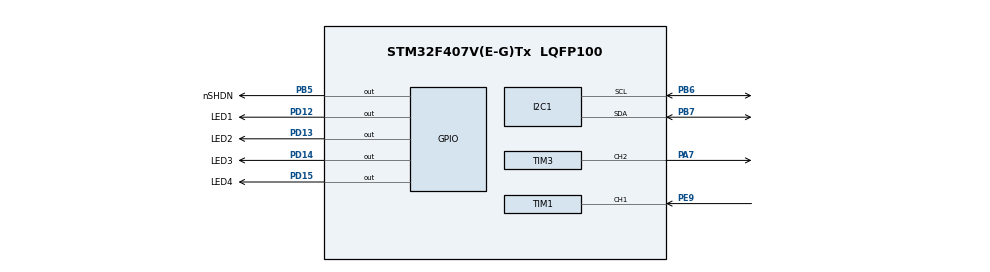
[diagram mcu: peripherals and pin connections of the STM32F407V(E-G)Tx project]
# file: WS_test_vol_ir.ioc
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Dma.Request0=TIM1_CH1/CH2/CH3
Dma.TIM1_CH1/CH2/CH3.0.Direction=DMA_PERIPH_TO_MEMORY
Dma.TIM1_CH1/CH2/CH3.0.FIFOMode=DMA_FIFOMODE_DISABLE
Dma.TIM1_CH1/CH2/CH3.0.Instance=DMA2_Stream6
Dma.TIM1_CH1/CH2/CH3.0.MemDataAlignment=DMA_MDATAALIGN_HALFWORD
Dma.TIM1_CH1/CH2/CH3.0.MemInc=DMA_MINC_ENABLE
Dma.TIM1_CH1/CH2/CH3.0.Mode=DMA_NORMAL
Dma.TIM1_CH1/CH2/CH3.0.PeriphDataAlignment=DMA_PDATAALIGN_HALFWORD
Dma.TIM1_CH1/CH2/CH3.0.PeriphInc=DMA_PINC_DISABLE
Dma.TIM1_CH1/CH2/CH3.0.Priority=DMA_PRIORITY_LOW
FREERTOS.Tasks01=defaultTask,0,128,StartDefaultTask,Default
I2C1.OwnAddress=0x2c
Mcu.Family=STM32F4
Mcu.Name=STM32F407V(E-G)Tx
Mcu.Package=LQFP100
NVIC.DMA2_Stream6_IRQn=true\:5\:0\:false\:false\:true\:true
NVIC.PriorityGroup=NVIC_PRIORITYGROUP_4
NVIC.TIM1_CC_IRQn=true\:5\:0\:false\:false\:true\:true
NVIC.TIM1_UP_TIM10_IRQn=true\:5\:0\:false\:false\:true\:true
NVIC.TIM8_TRG_COM_TIM14_IRQn=true\:0\:0\:false\:false\:true\:false
NVIC.TimeBase=TIM8_TRG_COM_TIM14_IRQn
NVIC.TimeBaseIP=TIM14
PA13.Mode=Trace_Asynchronous_SW
PA13.Signal=SYS_JTMS-SWDIO
PA14.Mode=Trace_Asynchronous_SW
PA14.Signal=SYS_JTCK-SWCLK
PA7.Signal=S_TIM3_CH2
PB3.Mode=Trace_Asynchronous_SW
PB3.Signal=SYS_JTDO-SWO
PB5.GPIO_Label=nSHDN
PB5.PinState=GPIO_PIN_SET
PB5.Signal=GPIO_Output
PB6.GPIO_PuPdOD=GPIO_NOPULL
PB6.Mode=I2C
PB6.Signal=I2C1_SCL
PB7.GPIO_PuPdOD=GPIO_NOPULL
PB7.Mode=I2C
PB7.Signal=I2C1_SDA
PD12.GPIO_Label=LED1
PD12.Signal=GPIO_Output
PD13.GPIO_Label=LED2
PD13.Signal=GPIO_Output
PD14.GPIO_Label=LED3
PD14.Signal=GPIO_Output
PD15.GPIO_Label=LED4
PD15.Signal=GPIO_Output
PE9.Signal=S_TIM1_CH1
ProjectManager.HeapSize=0x200
ProjectManager.StackSize=0x400
ProjectManager.TargetToolchain=MDK-ARM V5
RCC.48MHZClocksFreq_Value=84000000
RCC.AHBFreq_Value=168000000
RCC.APB1CLKDivider=RCC_HCLK_DIV4
RCC.APB1Freq_Value=42000000
RCC.APB1TimFreq_Value=84000000
RCC.APB2CLKDivider=RCC_HCLK_DIV2
RCC.APB2Freq_Value=84000000
RCC.APB2TimFreq_Value=168000000
RCC.CortexFreq_Value=168000000
RCC.HCLKFreq_Value=168000000
RCC.HSE_VALUE=25000000
RCC.HSI_VALUE=16000000
RCC.LSE_VALUE=32768
RCC.PLLM=8
RCC.PLLN=168
RCC.SYSCLKFreq_VALUE=168000000
RCC.SYSCLKSource=RCC_SYSCLKSOURCE_PLLCLK
RCC.VCOOutputFreq_Value=336000000
SH.S_TIM1_CH1.0=TIM1_CH1,PWM_Input_1
SH.S_TIM3_CH2.0=TIM3_CH2,PWM Generation2 CH2
TIM1.ClockDivision=TIM_CLOCKDIVISION_DIV1
TIM1.ICFilter_1=7
TIM1.ICFilter_2=7
TIM1.ICPolarity_1=TIM_INPUTCHANNELPOLARITY_FALLING
TIM1.Period=0xffff
TIM1.Prescaler=167
TIM1.TIM_MasterOutputTrigger=TIM_TRGO_OC1
TIM1.TIM_MasterSlaveMode=TIM_MASTERSLAVEMODE_ENABLE
TIM3.Channel-PWM\ Generation2\ CH2=TIM_CHANNEL_2
TIM3.Period=1000
TIM3.Prescaler=2
TIM3.Pulse-PWM\ Generation2\ CH2=500
TIM8.Period=1000
TIM8.Prescaler=167
VP_FREERTOS_VS_ENABLE.Mode=Enabled
VP_SYS_VS_tim14.Mode=TIM14
VP_TIM1_VS_ClockSourceINT.Mode=Internal
VP_TIM8_VS_ClockSourceINT.Mode=Internal
VP_TIM8_VS_ClockSourceITR.Mode=TriggerSource_ITR0
VP_TIM8_VS_ControllerModeTrigger.Mode=Trigger Mode
board=WS_test_vol_ir

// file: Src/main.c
/**
  ******************************************************************************
  * File Name          : main.c
  * Description        : Main program body
  ******************************************************************************
*/
#include "main.h"
#include "stm32f4xx_hal.h"
#include "cmsis_os.h"

/* USER CODE BEGIN Includes */
#include "init_main.h"
#include "Nec.h"
/* USER CODE END Includes */

I2C_HandleTypeDef hi2c1;

TIM_HandleTypeDef htim1;
TIM_HandleTypeDef htim3;
TIM_HandleTypeDef htim8;
DMA_HandleTypeDef hdma_tim1_ch1_ch2_ch3;

osThreadId defaultTaskHandle;

/* USER CODE BEGIN PV */
/* Private variables ---------------------------------------------------------*/
typedef struct
{
	uint8_t ctrl;
	uint8_t vol;
}vol_t __attribute__((aligned (8)));

typedef struct
{
	uint8_t adr_pot;

	uint8_t vol;//общая громкость

	vol_t vol_ctrl_l;
	vol_t vol_ctrl_r;
}vol_ch_t;
/* USER CODE END PV */

void StartDefaultTask(void const * argument);

/* USER CODE BEGIN PFP */
/* Private function prototypes -----------------------------------------------*/

/* USER CODE END PFP */

/* USER CODE BEGIN 0 */
#define BUFF_LEN (255)
uint32_t i,j=0;
uint16_t buff_cnt1[BUFF_LEN];
uint16_t buff_cnt2[BUFF_LEN];

vol_ch_t ch_vol;

nec_ir_t Nec;

#define DG_POT_ADR (0x58)

#define BT_PROG (0x05)//PROGRAM
#define BT_P10  (0x0E)//+10 Vol
#define BT_N10  (0x1B)//-10
#define BT_P1   (0x06)//+1 Vol
#define BT_N1   (0x0A)//-1

void ch_set_vol_all(vol_ch_t* vol_ch_ctrl)
{
	vol_ch_ctrl->vol_ctrl_l.vol=vol_ch_ctrl->vol;
	vol_ch_ctrl->vol_ctrl_r.vol=vol_ch_ctrl->vol;
	HAL_I2C_Master_Transmit(&hi2c1, vol_ch_ctrl->adr_pot,(uint8_t*) &vol_ch_ctrl->vol_ctrl_l, 2, 1000);
	HAL_I2C_Master_Transmit(&hi2c1, vol_ch_ctrl->adr_pot,(uint8_t*) &vol_ch_ctrl->vol_ctrl_r, 2, 1000);
}

void myNecDecodedCallback(uint16_t address, uint8_t cmd)
{
	int32_t i=0;
	int32_t inc=0;
	uint8_t dec=0;//декремент

	ch_vol.adr_pot=DG_POT_ADR;
	ch_vol.vol_ctrl_l.ctrl=0x98;
	ch_vol.vol_ctrl_r.ctrl=0x18;

	if (address==0xFF00)
	{
		switch (cmd)
		{
			case BT_PROG:
			{
				HAL_GPIO_TogglePin(GPIOB, nSHDN_Pin);
			}return;
			case BT_P10: inc=10;break;
			case BT_N10: inc=-10;break;
			case BT_P1:	 inc=1;break;
			case BT_N1:	 inc=-1;break;
			default:;
		}
	}
//----------------------управление громкостью-------------------
	if 			(ch_vol.vol+inc>=255)  ch_vol.vol=255;
	else if (ch_vol.vol+inc<0)		 ch_vol.vol=0;
	else
	{
		if (inc<0)
		{
			inc=inc*(-1);
			dec=1;
		}
		HAL_GPIO_WritePin(GPIOB, nSHDN_Pin, GPIO_PIN_SET);
		for (i=0;i<inc;i++)
		{
			if (dec)ch_vol.vol--;
			else 		ch_vol.vol++;
			ch_set_vol_all(&ch_vol);
			HAL_Delay (1);
		}
	}
	if (ch_vol.vol==0)HAL_GPIO_WritePin(GPIOB, nSHDN_Pin, GPIO_PIN_RESET);
//-------------------------------------------------------------
}

void myNecRepeatCallback()
{
	Nec.NEC_DecodedCallback(Nec.addr,Nec.cmd);
}

/* USER CODE END 0 */

int main(void)
{

  /* MCU Configuration----------------------------------------------------------*/

  /* Reset of all peripherals, Initializes the Flash interface and the Systick. */
  HAL_Init();

  /* Configure the system clock */
  SystemClock_Config();

  /* Initialize all configured peripherals */
  MX_GPIO_Init();
  MX_DMA_Init();
  MX_I2C1_Init();
  MX_TIM1_Init();
	MX_TIM3_Init();
  MX_TIM8_Init();

  /* definition and creation of defaultTask */
  osThreadDef(defaultTask, StartDefaultTask, osPriorityNormal, 0, 128);
  defaultTaskHandle = osThreadCreate(osThread(defaultTask), NULL);

  /* USER CODE BEGIN RTOS_QUEUES */
  for (i=0;i<BUFF_LEN;i++)Nec._len_pulse_raw[i]=0;

	i=0;
	Nec.type=EXTENDED_TYPE;
	Nec.start_seq_time=12000;
	Nec.bit_time=1500;
	Nec._cnt_repeat=0;

	Nec.NEC_DecodedCallback=myNecDecodedCallback;
	Nec.NEC_RepeatCallback=myNecRepeatCallback;

	tim_icc_dma_burst_link(TIM1, DMA2_Stream6, 1, 0, Nec._len_pulse_raw, BUFF_LEN);

	HAL_TIM_PWM_Start(&htim8,TIM_CHANNEL_1);
	HAL_TIM_IC_Start(&htim1, TIM_CHANNEL_1);
	HAL_TIM_IC_Start(&htim1, TIM_CHANNEL_2);

	HAL_TIM_PWM_Start(&htim3, TIM_CHANNEL_2);

	SET_BIT(TIM1->CR1, TIM_CR1_URS);//Update прерывание только по переполнению
	//SET_BIT(TIM1->DIER, TIM_DIER_UIE);//разрешить по переполенению
	SET_BIT(TIM1->DIER, TIM_DIER_CC1IE);//разрешаю прерывание по захвату

	uint8_t data_l[2]={0x18,0};
	uint8_t data_r[2]={0x98,0};
	HAL_GPIO_WritePin(GPIOB, nSHDN_Pin, GPIO_PIN_RESET);
	HAL_GPIO_WritePin(GPIOB, nSHDN_Pin, GPIO_PIN_SET);
	HAL_I2C_Master_Transmit(&hi2c1, DG_POT_ADR, data_l, 2, 1000);
	HAL_I2C_Master_Transmit(&hi2c1, DG_POT_ADR, data_r, 2, 1000);

  osKernelStart();
  while (1){}
}

/* StartDefaultTask function */
void StartDefaultTask(void const * argument)
{
  /* USER CODE BEGIN 5 */
	uint32_t dc=0;
	uint32_t d=0;
  /* Infinite loop */
  for(;;)
  {
		if 			(dc==1000)d=1;
		else if (dc==0)	 d=0;
		if (d)dc--;
		else  dc++;

		TIM3->CCR2=dc;
		HAL_GPIO_TogglePin(GPIOD, LED3_Pin);
    osDelay(10);
  }
  /* USER CODE END 5 */
}

/************************ (C) COPYRIGHT STMicroelectronics *****END OF FILE****/
